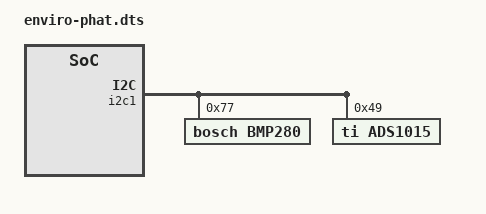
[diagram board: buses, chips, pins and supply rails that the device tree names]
/* Device Tree Overlay to load the Pimoroni Enviro-Phat as native Linux kernel
   sensors on the Raspberry Pi.  This loads the BMP280 pressure/temperature
   sensor as an IIO device (under /sys/bus/iio/devices) and the ADS1015 analog
   to digital converter as an older hwmon device (under /sys/class/hwmon).  The
   TCS3472 light sensor and LSM303 accelerometer/magnetometer are not loaded
   (they are supported by drivers in the kernel but those drivers aren't
   compiled in by default and need to be loaded separately).
*/
/dts-v1/;
/plugin/;
/ {
  fragment@0 {
    /* Fragment targets the /dev/i2c-1 bus which is the default for HATs and
       peripherals connected to the GPIO header on the Raspberry Pi.
       Other boards might need to adjust this to point at the appropriate I2C
       bus.
    */
    target = <&i2c1>;
    __overlay__ {
      /* Status and address/size cells are boilerplate that tell the overlay
         to ensure the I2C bus is enabled and that the following nodes define
         a single reg value (required for I2C devices).
      */
      status = "okay";
      #address-cells = <1>;
      #size-cells = <0>;

      /* Define the BMP280 pressure sensor at address 0x77 */
      bmp280@77 {
        compatible = "bosch,bmp280";
        reg = <0x77>;

        /* Note there are optional parameters to control the sample rate and
           other state of the BMP280 sensor.  See the documentation here:
           https://git.kernel.org/pub/scm/linux/kernel/git/stable/linux.git/tree/Documentation/devicetree/bindings/iio/pressure/bmp085.txt?h=v4.14.104
        */
      };

      /* Define the ADS1015 ADC at address 0x49 */
      ads1015@49 {
        compatible = "ti,ads1015";
        reg = <0x49>;

        /* Note you can define the gain and sample rate for each of the 4
           channels of the ADC.  See the documentation here:
           https://git.kernel.org/pub/scm/linux/kernel/git/stable/linux.git/tree/Documentation/devicetree/bindings/hwmon/ads1015.txt?h=v4.14.104

           With no explicit configuration the defaults of +/-2V gain/range and
           1600 samples/sec are used for each channel.  Both differential and
           single ended channel measurements are supported by the hwmon device.
           The in0_input...in3_input objects (under /sys/class/hwmon/hwmon0/device)
           read differential measurements (i.e. in0_input reads the voltage
           between channel 0 and 1, in1_input reads between channel 1 and 3), see
           the documentation above for the list of channels used by each node.
           The in4_input...in7_input objects read the voltage between each
           channel and ground (i.e. single ended channel measurement).
        */
      };

    };
  };
};
